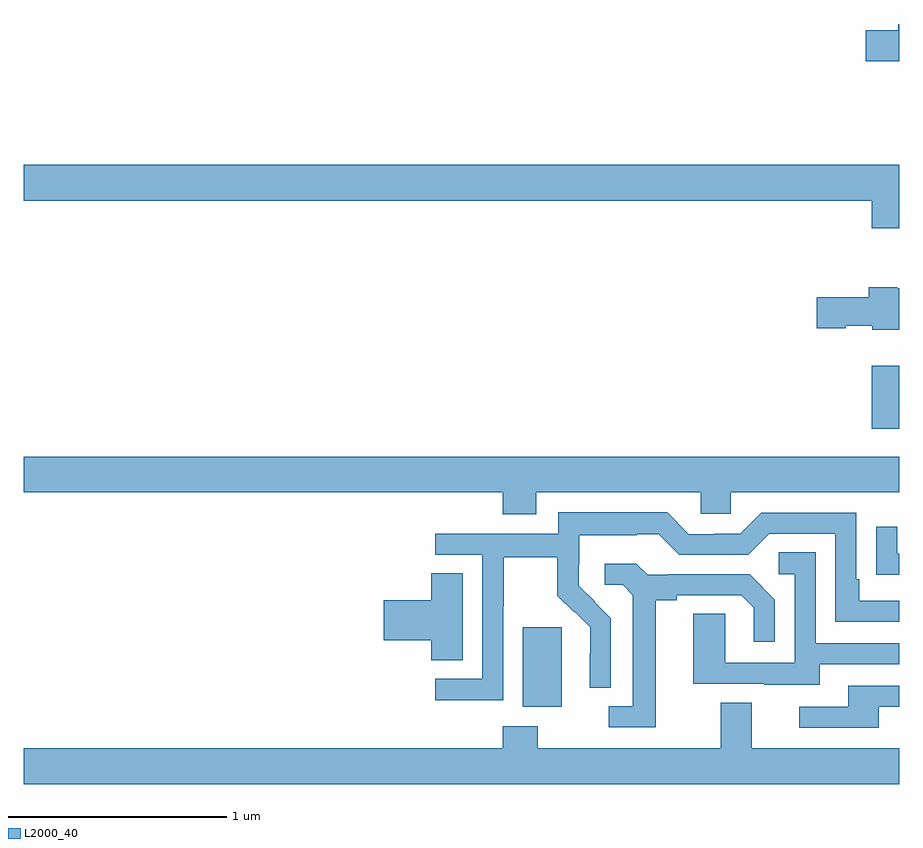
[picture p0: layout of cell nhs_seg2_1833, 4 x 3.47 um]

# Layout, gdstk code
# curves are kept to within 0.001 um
import gdstk
lib = gdstk.Library(unit=1e-6, precision=1e-09)
def R(c, l, rs):  # rectangles x0, y0, x1, y1
    for r in rs: c.add(gdstk.rectangle(r[:2], r[2:], *l))
def P(c, l, *ps):  # polygons
    for p in ps: c.add(gdstk.Polygon(p, *l))
L2000_40 = (2000, 40)

nhs_seg2_1833 = lib.new_cell('nhs_seg2_1833')
R(nhs_seg2_1833, L2000_40, [(209.279,622.682,209.458,623.043), (210.875,623.952,211,624.238)])
P(nhs_seg2_1833, L2000_40, [(211,625.8),(210.995,625.8),(210.995,625.772),(210.846,625.772),(210.846,625.63),(211,625.63)],
  [(211,625.156),(207,625.156),(207,624.992),(210.875,624.992),(210.875,624.868),(211,624.868)],
  [(211,624.592),(210.99,624.592),(210.99,624.598),(210.86,624.598),(210.86,624.552),(210.624,624.552),(210.624,624.41),(210.756,624.41),(210.756,624.422),(210.876,624.422),(210.876,624.404),(211,624.404)],
  [(209.341,623.66),(210.093,623.66),(210.093,623.562),(210.231,623.562),(210.231,623.66),(211,623.66),(211,623.824),(207,623.824),(207,623.66),(209.189,623.66),(209.189,623.561),(209.341,623.561)],
  [(209.19,623.14),(209.193,623.14),(209.193,623.364),(209.437,623.364),(209.437,623.189),(209.514,623.112),(209.517,623.115),(209.588,623.045),(209.588,622.922),(209.586,622.922),(209.586,622.768),(209.682,622.768),(209.682,623.086),(209.536,623.234),(209.536,623.331),(209.538,623.331),(209.538,623.465),(209.801,623.465),(209.801,623.469),(209.901,623.469),(209.994,623.376),(210.309,623.376),(210.405,623.472),(210.708,623.472),(210.708,623.07),(211,623.07),(211,623.166),(210.817,623.166),(210.817,623.263),(210.804,623.263),(210.804,623.568),(210.369,623.568),(210.273,623.472),(210.155,623.472),(210.155,623.469),(210.039,623.469),(209.939,623.569),(209.442,623.569),(209.442,623.472),(208.881,623.472),(208.881,623.376),(209.094,623.376),(209.094,622.809),(208.881,622.809),(208.881,622.711),(209.19,622.711)],
  [(211,623.379),(210.991,623.379),(210.991,623.503),(210.895,623.503),(210.895,623.284),(210.997,623.284),(210.997,623.283),(211,623.283)],
  [(210.637,622.875),(211,622.875),(211,622.971),(210.618,622.971),(210.618,623.387),(210.45,623.387),(210.45,623.286),(210.522,623.286),(210.522,622.881),(210.204,622.881),(210.204,623.105),(210.059,623.105),(210.059,622.785),(210.383,622.785),(210.383,622.781),(210.637,622.781)],
  [(209.887,623.168),(209.983,623.168),(209.983,623.19),(210.278,623.19),(210.335,623.133),(210.335,622.977),(210.432,622.977),(210.432,623.17),(210.316,623.286),(209.944,623.286),(209.944,623.283),(209.85,623.283),(209.798,623.335),(209.655,623.335),(209.655,623.238),(209.736,623.238),(209.783,623.191),(209.783,622.683),(209.673,622.683),(209.673,622.587),(209.887,622.587)],
  [(209.005,623.291),(208.862,623.291),(208.862,623.168),(208.644,623.168),(208.644,622.985),(208.862,622.985),(208.862,622.894),(209.005,622.894)],
  [(210.907,622.68),(211,622.68),(211,622.776),(210.767,622.776),(210.767,622.68),(210.543,622.68),(210.543,622.584),(210.907,622.584)],
  [(211,622.492),(210.325,622.492),(210.325,622.7),(210.185,622.7),(210.185,622.492),(209.349,622.492),(209.349,622.591),(209.189,622.591),(209.189,622.492),(207,622.492),(207,622.328),(211,622.328)])

lib.write_gds('nhs_seg2_1833.gds')
